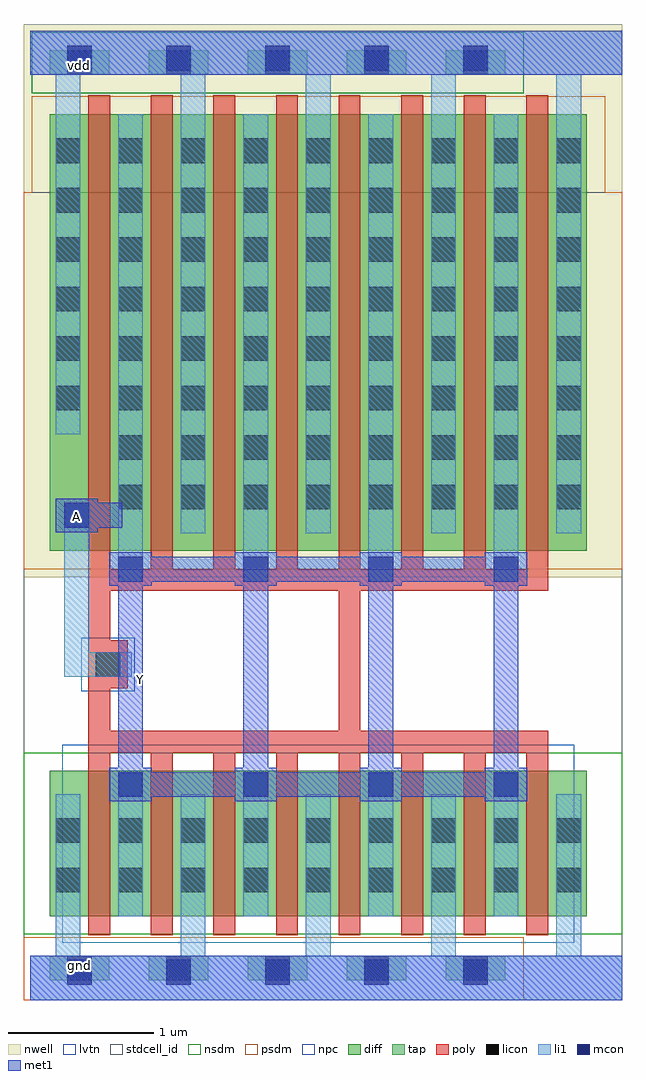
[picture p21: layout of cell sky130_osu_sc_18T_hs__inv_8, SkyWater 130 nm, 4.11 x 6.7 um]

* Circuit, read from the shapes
.subckt sky130_osu_sc_18T_hs__inv_8 A Y gnd vdd
XM1 Y A gnd gnd sky130_fd_pr__nfet_01v8_lvt w=1 l=0.15 m=8
XM2 Y A vdd vdd sky130_fd_pr__pfet_01v8 w=3 l=0.15 m=8
.ends

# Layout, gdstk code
import gdstk
lib = gdstk.Library(unit=1e-6, precision=1e-09)
def R(c, l, rs):  # rectangles x0, y0, x1, y1
    for r in rs: c.add(gdstk.rectangle(r[:2], r[2:], *l))
nwell = (64, 20)
diff = (65, 20)
tap = (65, 44)
poly = (66, 20)
licon = (66, 44)
li1 = (67, 20)
mcon = (67, 44)
met1 = (68, 20)
stdcell_id = (81, 4)
nsdm = (93, 44)
psdm = (94, 20)
npc = (95, 20)
lvtn = (125, 44)

sky130_osu_sc_18t_hs__in = lib.new_cell('sky130_osu_sc_18T_hs__inv_8')
R(sky130_osu_sc_18t_hs__in, nwell, [(-0.045,2.905,4.07,6.705), (-0.045,2.905,4.07,6.705)])
R(sky130_osu_sc_18t_hs__in, diff, [(0.135,0.575,3.825,1.575), (0.135,0.575,3.825,1.575), (0.135,3.085,3.825,6.085), (0.135,3.085,3.825,6.085)])
R(sky130_osu_sc_18t_hs__in, tap, [(0.135,0.135,0.545,0.305), (0.135,0.135,0.545,0.305), (0.815,0.135,1.225,0.305), (0.815,0.135,1.225,0.305), (1.495,0.135,1.905,0.305), (1.495,0.135,1.905,0.305), (2.175,0.135,2.585,0.305), (2.175,0.135,2.585,0.305), (2.855,0.135,3.265,0.305), (2.855,0.135,3.265,0.305), (0.135,6.355,0.545,6.525), (0.135,6.355,0.545,6.525), (0.815,6.355,1.225,6.525), (0.815,6.355,1.225,6.525), (1.495,6.355,1.905,6.525), (1.495,6.355,1.905,6.525), (2.175,6.355,2.585,6.525), (2.175,6.355,2.585,6.525), (2.855,6.355,3.265,6.525), (2.855,6.355,3.265,6.525)])
R(sky130_osu_sc_18t_hs__in, poly, [(0.4,0.445,0.55,1.7), (0.4,0.445,0.55,1.7), (0.83,0.445,0.98,1.7), (0.83,0.445,0.98,1.7), (1.26,0.445,1.41,1.7), (1.26,0.445,1.41,1.7), (1.69,0.445,1.84,1.7), (1.69,0.445,1.84,1.7), (2.12,0.445,2.27,1.7), (2.12,0.445,2.27,1.7), (2.55,0.445,2.7,1.7), (2.55,0.445,2.7,1.7), (2.98,0.445,3.13,1.7), (2.98,0.445,3.13,1.7), (3.41,0.445,3.56,1.7), (3.41,0.445,3.56,1.7), (0.4,1.7,3.56,1.85), (0.4,1.7,3.56,1.85), (0.4,1.85,0.55,2.14), (0.4,1.85,0.55,2.14), (2.12,1.85,2.27,2.81), (2.12,1.85,2.27,2.81), (0.4,2.14,0.67,2.47), (0.4,2.14,0.67,2.47), (0.4,2.47,0.55,2.81), (0.4,2.47,0.55,2.81), (0.4,2.81,3.56,2.96), (0.4,2.81,3.56,2.96), (0.4,2.96,0.55,6.215), (0.4,2.96,0.55,6.215), (0.83,2.96,0.98,6.215), (0.83,2.96,0.98,6.215), (1.26,2.96,1.41,6.215), (1.26,2.96,1.41,6.215), (1.69,2.96,1.84,6.215), (1.69,2.96,1.84,6.215), (2.12,2.96,2.27,6.215), (2.12,2.96,2.27,6.215), (2.55,2.96,2.7,6.215), (2.55,2.96,2.7,6.215), (2.98,2.96,3.13,6.215), (2.98,2.96,3.13,6.215), (3.41,2.96,3.56,6.215), (3.41,2.96,3.56,6.215)])
R(sky130_osu_sc_18t_hs__in, licon, [(0.255,0.135,0.425,0.305), (0.255,0.135,0.425,0.305), (0.935,0.135,1.105,0.305), (0.935,0.135,1.105,0.305), (1.615,0.135,1.785,0.305), (1.615,0.135,1.785,0.305), (2.295,0.135,2.465,0.305), (2.295,0.135,2.465,0.305), (2.975,0.135,3.145,0.305), (2.975,0.135,3.145,0.305), (0.175,0.74,0.345,0.91), (0.175,0.74,0.345,0.91), (0.605,0.74,0.775,0.91), (0.605,0.74,0.775,0.91), (1.035,0.74,1.205,0.91), (1.035,0.74,1.205,0.91), (1.465,0.74,1.635,0.91), (1.465,0.74,1.635,0.91), (1.895,0.74,2.065,0.91), (1.895,0.74,2.065,0.91), (2.325,0.74,2.495,0.91), (2.325,0.74,2.495,0.91), (2.755,0.74,2.925,0.91), (2.755,0.74,2.925,0.91), (3.185,0.74,3.355,0.91), (3.185,0.74,3.355,0.91), (3.615,0.74,3.785,0.91), (3.615,0.74,3.785,0.91), (0.175,1.08,0.345,1.25), (0.175,1.08,0.345,1.25), (0.605,1.08,0.775,1.25), (0.605,1.08,0.775,1.25), (1.035,1.08,1.205,1.25), (1.035,1.08,1.205,1.25), (1.465,1.08,1.635,1.25), (1.465,1.08,1.635,1.25), (1.895,1.08,2.065,1.25), (1.895,1.08,2.065,1.25), (2.325,1.08,2.495,1.25), (2.325,1.08,2.495,1.25), (2.755,1.08,2.925,1.25), (2.755,1.08,2.925,1.25), (3.185,1.08,3.355,1.25), (3.185,1.08,3.355,1.25), (3.615,1.08,3.785,1.25), (3.615,1.08,3.785,1.25), (0.45,2.22,0.62,2.39), (0.45,2.22,0.62,2.39), (0.605,3.37,0.775,3.54), (0.605,3.37,0.775,3.54), (1.035,3.37,1.205,3.54), (1.035,3.37,1.205,3.54), (1.465,3.37,1.635,3.54), (1.465,3.37,1.635,3.54), (1.895,3.37,2.065,3.54), (1.895,3.37,2.065,3.54), (2.325,3.37,2.495,3.54), (2.325,3.37,2.495,3.54), (2.755,3.37,2.925,3.54), (2.755,3.37,2.925,3.54), (3.185,3.37,3.355,3.54), (3.185,3.37,3.355,3.54), (3.615,3.37,3.785,3.54), (3.615,3.37,3.785,3.54), (0.605,3.71,0.775,3.88), (0.605,3.71,0.775,3.88), (1.035,3.71,1.205,3.88), (1.035,3.71,1.205,3.88), (1.465,3.71,1.635,3.88), (1.465,3.71,1.635,3.88), (1.895,3.71,2.065,3.88), (1.895,3.71,2.065,3.88), (2.325,3.71,2.495,3.88), (2.325,3.71,2.495,3.88), (2.755,3.71,2.925,3.88), (2.755,3.71,2.925,3.88), (3.185,3.71,3.355,3.88), (3.185,3.71,3.355,3.88), (3.615,3.71,3.785,3.88), (3.615,3.71,3.785,3.88), (0.175,4.05,0.345,4.22), (0.175,4.05,0.345,4.22), (0.605,4.05,0.775,4.22), (0.605,4.05,0.775,4.22), (1.035,4.05,1.205,4.22), (1.035,4.05,1.205,4.22), (1.465,4.05,1.635,4.22), (1.465,4.05,1.635,4.22), (1.895,4.05,2.065,4.22), (1.895,4.05,2.065,4.22), (2.325,4.05,2.495,4.22), (2.325,4.05,2.495,4.22), (2.755,4.05,2.925,4.22), (2.755,4.05,2.925,4.22), (3.185,4.05,3.355,4.22), (3.185,4.05,3.355,4.22), (3.615,4.05,3.785,4.22), (3.615,4.05,3.785,4.22), (0.175,4.39,0.345,4.56), (0.175,4.39,0.345,4.56), (0.605,4.39,0.775,4.56), (0.605,4.39,0.775,4.56), (1.035,4.39,1.205,4.56), (1.035,4.39,1.205,4.56), (1.465,4.39,1.635,4.56), (1.465,4.39,1.635,4.56), (1.895,4.39,2.065,4.56), (1.895,4.39,2.065,4.56), (2.325,4.39,2.495,4.56), (2.325,4.39,2.495,4.56), (2.755,4.39,2.925,4.56), (2.755,4.39,2.925,4.56), (3.185,4.39,3.355,4.56), (3.185,4.39,3.355,4.56), (3.615,4.39,3.785,4.56), (3.615,4.39,3.785,4.56), (0.175,4.73,0.345,4.9), (0.175,4.73,0.345,4.9), (0.605,4.73,0.775,4.9), (0.605,4.73,0.775,4.9), (1.035,4.73,1.205,4.9), (1.035,4.73,1.205,4.9), (1.465,4.73,1.635,4.9), (1.465,4.73,1.635,4.9), (1.895,4.73,2.065,4.9), (1.895,4.73,2.065,4.9), (2.325,4.73,2.495,4.9), (2.325,4.73,2.495,4.9), (2.755,4.73,2.925,4.9), (2.755,4.73,2.925,4.9), (3.185,4.73,3.355,4.9), (3.185,4.73,3.355,4.9), (3.615,4.73,3.785,4.9), (3.615,4.73,3.785,4.9), (0.175,5.07,0.345,5.24), (0.175,5.07,0.345,5.24), (0.605,5.07,0.775,5.24), (0.605,5.07,0.775,5.24), (1.035,5.07,1.205,5.24), (1.035,5.07,1.205,5.24), (1.465,5.07,1.635,5.24), (1.465,5.07,1.635,5.24), (1.895,5.07,2.065,5.24), (1.895,5.07,2.065,5.24), (2.325,5.07,2.495,5.24), (2.325,5.07,2.495,5.24), (2.755,5.07,2.925,5.24), (2.755,5.07,2.925,5.24), (3.185,5.07,3.355,5.24), (3.185,5.07,3.355,5.24), (3.615,5.07,3.785,5.24), (3.615,5.07,3.785,5.24), (0.175,5.41,0.345,5.58), (0.175,5.41,0.345,5.58), (0.605,5.41,0.775,5.58), (0.605,5.41,0.775,5.58), (1.035,5.41,1.205,5.58), (1.035,5.41,1.205,5.58), (1.465,5.41,1.635,5.58), (1.465,5.41,1.635,5.58), (1.895,5.41,2.065,5.58), (1.895,5.41,2.065,5.58), (2.325,5.41,2.495,5.58), (2.325,5.41,2.495,5.58), (2.755,5.41,2.925,5.58), (2.755,5.41,2.925,5.58), (3.185,5.41,3.355,5.58), (3.185,5.41,3.355,5.58), (3.615,5.41,3.785,5.58), (3.615,5.41,3.785,5.58), (0.175,5.75,0.345,5.92), (0.175,5.75,0.345,5.92), (0.605,5.75,0.775,5.92), (0.605,5.75,0.775,5.92), (1.035,5.75,1.205,5.92), (1.035,5.75,1.205,5.92), (1.465,5.75,1.635,5.92), (1.465,5.75,1.635,5.92), (1.895,5.75,2.065,5.92), (1.895,5.75,2.065,5.92), (2.325,5.75,2.495,5.92), (2.325,5.75,2.495,5.92), (2.755,5.75,2.925,5.92), (2.755,5.75,2.925,5.92), (3.185,5.75,3.355,5.92), (3.185,5.75,3.355,5.92), (3.615,5.75,3.785,5.92), (3.615,5.75,3.785,5.92), (0.255,6.355,0.425,6.525), (0.255,6.355,0.425,6.525), (0.935,6.355,1.105,6.525), (0.935,6.355,1.105,6.525), (1.615,6.355,1.785,6.525), (1.615,6.355,1.785,6.525), (2.295,6.355,2.465,6.525), (2.295,6.355,2.465,6.525), (2.975,6.355,3.145,6.525), (2.975,6.355,3.145,6.525)])
R(sky130_osu_sc_18t_hs__in, li1, [(0,0,4.07,0.305), (0,0,4.07,0.305), (0.175,0.305,0.345,1.415), (0.175,0.305,0.345,1.415), (1.035,0.305,1.205,1.415), (1.035,0.305,1.205,1.415), (1.895,0.305,2.065,1.415), (1.895,0.305,2.065,1.415), (2.755,0.305,2.925,1.415), (2.755,0.305,2.925,1.415), (3.615,0.305,3.785,1.415), (3.615,0.305,3.785,1.415), (0.605,0.575,0.775,1.565), (0.605,0.575,0.775,1.565), (1.465,0.575,1.635,1.565), (1.465,0.575,1.635,1.565), (2.325,0.575,2.495,1.565), (2.325,0.575,2.495,1.565), (3.185,0.575,3.355,1.565), (3.185,0.575,3.355,1.565), (0.235,2.22,0.7,2.39), (0.235,2.22,0.7,2.39), (0.235,2.39,0.405,3.415), (0.235,2.39,0.405,3.415), (0.605,2.875,0.775,6.085), (0.605,2.875,0.775,6.085), (1.465,2.875,1.635,6.085), (1.465,2.875,1.635,6.085), (2.325,2.875,2.495,6.085), (2.325,2.875,2.495,6.085), (3.185,2.875,3.355,6.085), (3.185,2.875,3.355,6.085), (1.035,3.205,1.205,6.355), (1.035,3.205,1.205,6.355), (1.895,3.205,2.065,6.355), (1.895,3.205,2.065,6.355), (2.755,3.205,2.925,6.355), (2.755,3.205,2.925,6.355), (3.615,3.205,3.785,6.355), (3.615,3.205,3.785,6.355), (0.175,3.885,0.345,6.355), (0.175,3.885,0.345,6.355), (0,6.355,4.07,6.66), (0,6.355,4.07,6.66)])
R(sky130_osu_sc_18t_hs__in, mcon, [(0.255,0.105,0.425,0.275), (0.255,0.105,0.425,0.275), (0.935,0.105,1.105,0.275), (0.935,0.105,1.105,0.275), (1.615,0.105,1.785,0.275), (1.615,0.105,1.785,0.275), (2.295,0.105,2.465,0.275), (2.295,0.105,2.465,0.275), (2.975,0.105,3.145,0.275), (2.975,0.105,3.145,0.275), (0.605,1.395,0.775,1.565), (0.605,1.395,0.775,1.565), (1.465,1.395,1.635,1.565), (1.465,1.395,1.635,1.565), (2.325,1.395,2.495,1.565), (2.325,1.395,2.495,1.565), (3.185,1.395,3.355,1.565), (3.185,1.395,3.355,1.565), (0.605,2.875,0.775,3.045), (0.605,2.875,0.775,3.045), (1.465,2.875,1.635,3.045), (1.465,2.875,1.635,3.045), (2.325,2.875,2.495,3.045), (2.325,2.875,2.495,3.045), (3.185,2.875,3.355,3.045), (3.185,2.875,3.355,3.045), (0.235,3.245,0.405,3.415), (0.235,3.245,0.405,3.415), (0.255,6.385,0.425,6.555), (0.255,6.385,0.425,6.555), (0.935,6.385,1.105,6.555), (0.935,6.385,1.105,6.555), (1.615,6.385,1.785,6.555), (1.615,6.385,1.785,6.555), (2.295,6.385,2.465,6.555), (2.295,6.385,2.465,6.555), (2.975,6.385,3.145,6.555), (2.975,6.385,3.145,6.555)])
R(sky130_osu_sc_18t_hs__in, met1, [(0,0,4.07,0.305), (0,0,4.07,0.305), (0.545,1.365,0.835,1.395), (0.545,1.365,0.835,1.395), (1.405,1.365,1.695,1.395), (1.405,1.365,1.695,1.395), (2.265,1.365,2.555,1.395), (2.265,1.365,2.555,1.395), (3.125,1.365,3.415,1.395), (3.125,1.365,3.415,1.395), (0.545,1.395,3.415,1.565), (0.545,1.395,3.415,1.565), (0.545,1.565,0.835,1.595), (0.545,1.565,0.835,1.595), (1.405,1.565,1.695,1.595), (1.405,1.565,1.695,1.595), (2.265,1.565,2.555,1.595), (2.265,1.565,2.555,1.595), (3.125,1.565,3.415,1.595), (3.125,1.565,3.415,1.595), (0.605,1.595,0.775,2.845), (0.605,1.595,0.775,2.845), (1.465,1.595,1.635,2.845), (1.465,1.595,1.635,2.845), (2.325,1.595,2.495,2.845), (2.325,1.595,2.495,2.845), (3.185,1.595,3.355,2.845), (3.185,1.595,3.355,2.845), (0.545,2.845,0.835,2.875), (0.545,2.845,0.835,2.875), (1.405,2.845,1.695,2.875), (1.405,2.845,1.695,2.875), (2.265,2.845,2.555,2.875), (2.265,2.845,2.555,2.875), (3.125,2.845,3.415,2.875), (3.125,2.845,3.415,2.875), (0.545,2.875,3.415,3.045), (0.545,2.875,3.415,3.045), (0.545,3.045,0.835,3.075), (0.545,3.045,0.835,3.075), (1.405,3.045,1.695,3.075), (1.405,3.045,1.695,3.075), (2.265,3.045,2.555,3.075), (2.265,3.045,2.555,3.075), (3.125,3.045,3.415,3.075), (3.125,3.045,3.415,3.075), (0.175,3.215,0.465,3.245), (0.175,3.215,0.465,3.245), (0.175,3.245,0.635,3.415), (0.175,3.245,0.635,3.415), (0.175,3.415,0.465,3.445), (0.175,3.415,0.465,3.445), (0,6.355,4.07,6.66), (0,6.355,4.07,6.66)])
R(sky130_osu_sc_18t_hs__in, stdcell_id, [(-0.045,0,4.07,5.55), (-0.045,0,4.07,5.55)])
R(sky130_osu_sc_18t_hs__in, nsdm, [(-0.045,0.45,4.07,1.7), (-0.045,0.45,4.07,1.7), (0.01,6.23,3.39,6.65), (0.01,6.23,3.39,6.65)])
R(sky130_osu_sc_18t_hs__in, psdm, [(-0.045,0,3.39,0.43), (-0.045,0,3.39,0.43), (-0.045,2.96,4.07,5.55), (-0.045,2.96,4.07,5.55), (0.01,5.55,3.95,6.21), (0.01,5.55,3.95,6.21)])
R(sky130_osu_sc_18t_hs__in, npc, [(0.35,2.12,0.72,2.49), (0.35,2.12,0.72,2.49)])
R(sky130_osu_sc_18t_hs__in, lvtn, [(0.22,0.395,3.74,1.755), (0.22,0.395,3.74,1.755)])
sky130_osu_sc_18t_hs__in.add(gdstk.Label('gnd', (0.34,0.24), layer=68, texttype=16))
sky130_osu_sc_18t_hs__in.add(gdstk.Label('vdd', (0.34,6.42), layer=68, texttype=16))
sky130_osu_sc_18t_hs__in.add(gdstk.Label('gnd', (0.34,0.24), layer=68, texttype=16))
sky130_osu_sc_18t_hs__in.add(gdstk.Label('vdd', (0.34,6.42), layer=68, texttype=16))
sky130_osu_sc_18t_hs__in.add(gdstk.Label('Y', (0.76,2.2), layer=68, texttype=5))
sky130_osu_sc_18t_hs__in.add(gdstk.Label('A', (0.32,3.325), layer=68, texttype=5))
sky130_osu_sc_18t_hs__in.add(gdstk.Label('Y', (0.76,2.2), layer=68, texttype=5))
sky130_osu_sc_18t_hs__in.add(gdstk.Label('A', (0.32,3.325), layer=68, texttype=5))

lib.write_gds('sky130_osu_sc_18T_hs__inv_8.gds')
